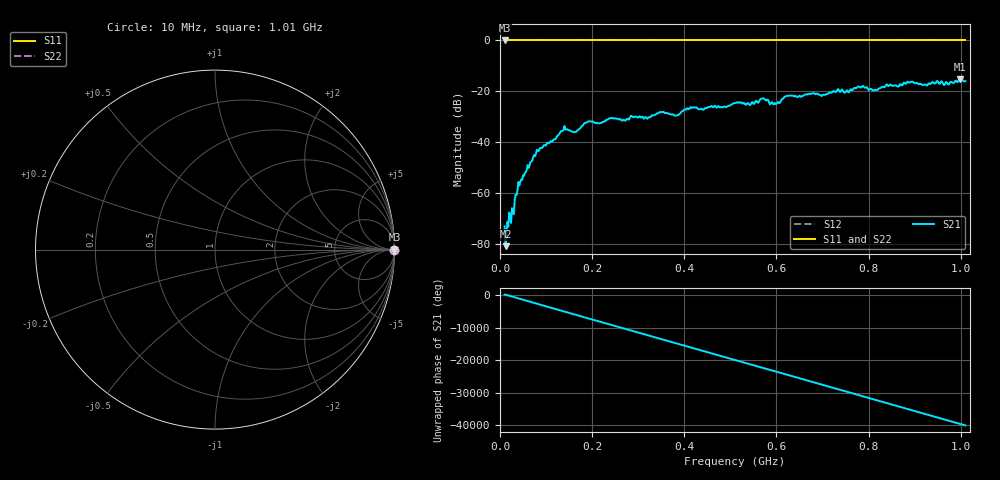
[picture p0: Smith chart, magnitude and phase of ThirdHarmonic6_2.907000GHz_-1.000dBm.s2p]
! 8/17/2025 8:03:06 AM
! C:\ANRITSUVNA\TEMP\TEMP.S2P
! CHANNEL.1
! TR.MEASUREMENT
! RAW.DATA
! RF.CORRECTION.OFF
! AVERAGING.OFF
! IF.BANDWIDTH: 5KHZ
! SWEEPTYPE:  FREQ.SWEEP(Linear)
! Reference Plane Port Info
! PORT:  PORT1  PORT2
! DISTANCE:  0  m  0  m
! TIME:  0  s  0  s
! PHASE.OFFSET:  0  deg.  0  deg.
! LOSS:  0  dB  0  dB
! REF.LOSS:  0  dB  0  dB
! REF.FREQ:  0  Hz  0  Hz
! Power Info
! POWER:  -20  dBm  -20  dBm
! EFF.POWER:  -20  dBm  -20  dBm
! SOURCE.ATTEN:  0  dB  0  dB
! TEST.ATTEN:  0  dB  0  dB
# GHZ S RI R 50.0
! FREQ.GHZ  S11RE  S11IM  S21RE  S21IM  S12RE  S12IM  S22RE  S22IM
!; PortSelection: Port_12
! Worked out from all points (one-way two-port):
!   501 points, 10 MHz to 1.01 GHz, reference 50 ohm
!   highest |S21| = -15.32 dB at 998 MHz (marker M1); lowest = -81.0 dB at 12 MHz (marker M2)
!   lowest |S11| = 0.0 dB at 10 MHz (marker M3)
!   |S11| at or under -10 dB: nowhere
!   |S22| runs from 0.0 to 0.0 dB; largest |S21 - S12| = 1.2
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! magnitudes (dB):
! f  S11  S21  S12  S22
! 10 MHz  0.0  -73.1  0.0  0.0
! 12 MHz  0.0  -81.0  0.0  0.0
! 26 MHz  0.0  -66.0  0.0  0.0
! 42 MHz  0.0  -57.1  0.0  0.0
! 76 MHz  0.0  -45.5  0.0  0.0
! 136 MHz  0.0  -35.6  0.0  0.0
! 162 MHz  0.0  -36.0  0.0  0.0
! 178 MHz  0.0  -33.7  0.0  0.0
! 192 MHz  0.0  -31.9  0.0  0.0
! 344 MHz  0.0  -28.6  0.0  0.0
! 382 MHz  0.0  -29.6  0.0  0.0
! 416 MHz  0.0  -26.4  0.0  0.0
! 510 MHz  0.0  -24.6  0.0  0.0
! 570 MHz  0.0  -22.8  0.0  0.0
! 596 MHz  0.0  -24.6  0.0  0.0
! 622 MHz  0.0  -21.8  0.0  0.0
! 678 MHz  0.0  -20.9  0.0  0.0
! 784 MHz  0.0  -18.5  0.0  0.0
! 814 MHz  0.0  -19.4  0.0  0.0
! 844 MHz  0.0  -17.9  0.0  0.0
! 998 MHz  0.0  -15.3  0.0  0.0
! 1.01 GHz  0.0  -16.0  0.0  0.0
